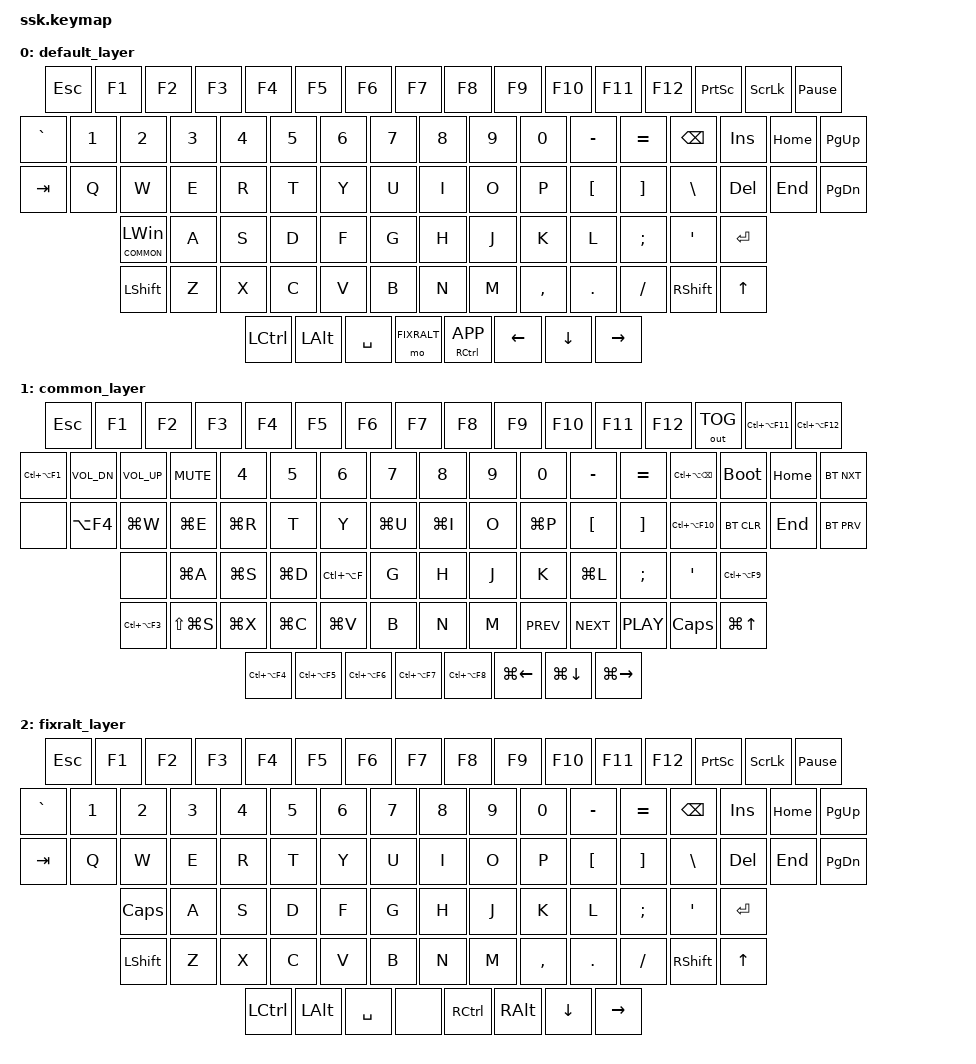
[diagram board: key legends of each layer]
#include <behaviors.dtsi>
#include <dt-bindings/zmk/bt.h>
#include <dt-bindings/zmk/keys.h>
#include <dt-bindings/zmk/outputs.h>

#define DEFAULT 0
#define COMMON 1
#define FIXRALT 2

/ {
    keymap {
        compatible = "zmk,keymap";

        default_layer {
            bindings = <
                &kp ESC     	        &kp F1 &kp F2 &kp F3 &kp F4    	            &kp F5 &kp F6 &kp F7 &kp F8                  &kp F9 &kp F10 &kp F11 &kp F12              &kp PSCRN       &kp SLCK           &kp PAUSE_BREAK
                &kp GRAVE           &kp N1 &kp N2 &kp N3 &kp N4 &kp N5 &kp N6 &kp N7 &kp N8 &kp N9 &kp N0 &kp MINUS &kp EQUAL                           &kp BSPC             &kp INS         &kp HOME           &kp PG_UP
				&kp TAB                 &kp Q &kp W &kp E &kp R &kp T &kp Y &kp U &kp I &kp O &kp P &kp LBKT &kp RBKT 	                                &kp BSLH		     &kp DEL         &kp END            &kp PG_DN
				&lt COMMON LWIN             &kp A &kp S &kp D &kp F &kp G &kp H &kp J &kp K &kp L &kp SEMI &kp APOS                                     &kp ENTER
				&kp LSHFT                       &kp Z &kp X &kp C &kp V &kp B &kp N &kp M &kp COMMA &kp DOT &kp FSLH                                    &kp RSHFT		                     &kp UP
				&kp LCTRL       &kp LALT                                    &kp SPACE                                               &mo FIXRALT         &mt RCTRL K_APP     &kp LEFT         &kp DOWN           &kp RIGHT
            >;          
        };

        common_layer {
            bindings = <
                &kp ESC         	    &kp F1 &kp F2 &kp F3 &kp F4         	    &kp F5 &kp F6 &kp F7 &kp F8             	 &kp F9 &kp F10 &kp F11 &kp F12    	        &out OUT_TOG     &kp LC(LA(F11))    &kp LC(LA(F12))
                &kp LC(LA(F1))      &kp C_VOL_DN &kp C_VOL_UP &kp C_MUTE &kp N4 &kp N5 &kp N6 &kp N7 &kp N8 &kp N9 &kp N0 &kp MINUS &kp EQUAL           &kp LC(LA(BSPC))	&bootloader      &kp HOME           &bt BT_NXT
				&none                   &kp LA(F4) &kp LG(W) &kp LG(E) &kp LG(R) &kp T &kp Y &kp LG(U) &kp LG(I) &kp O &kp LG(P) &kp LBKT &kp RBKT 	    &kp LC(LA(F10))		&bt BT_CLR       &kp END            &bt BT_PRV
				&none                       &kp LG(A) &kp LG(S) &kp LG(D) &kp LC(LA(F)) &kp G &kp H &kp J &kp K &kp LG(L) &kp SEMI &kp APOS             &kp LC(LA(F9))
				&kp LC(LA(F3))                  &kp LS(LG(S)) &kp LG(X) &kp LG(C) &kp LG(V) &kp B &kp N &kp M &kp C_PREV &kp C_NEXT &kp C_PLAY          &kp CAPS		                     &kp LG(UP)
				&kp LC(LA(F4))   &kp LC(LA(F5))                             &kp LC(LA(F6))                                	        &kp LC(LA(F7))      &kp LC(LA(F8))      &kp LG(LEFT)     &kp LG(DOWN)       &kp LG(RIGHT)
            >;          
        };

        fixralt_layer {
            bindings = <
                &kp ESC     	        &kp F1 &kp F2 &kp F3 &kp F4    	            &kp F5 &kp F6 &kp F7 &kp F8                  &kp F9 &kp F10 &kp F11 &kp F12              &kp PSCRN       &kp SLCK           &kp PAUSE_BREAK
                &kp GRAVE           &kp N1 &kp N2 &kp N3 &kp N4 &kp N5 &kp N6 &kp N7 &kp N8 &kp N9 &kp N0 &kp MINUS &kp EQUAL                           &kp BSPC             &kp INS         &kp HOME           &kp PG_UP
				&kp TAB                 &kp Q &kp W &kp E &kp R &kp T &kp Y &kp U &kp I &kp O &kp P &kp LBKT &kp RBKT 	                                &kp BSLH             &kp DEL         &kp END            &kp PG_DN
				&kp CAPS                    &kp A &kp S &kp D &kp F &kp G &kp H &kp J &kp K &kp L &kp SEMI &kp APOS                                     &kp ENTER
				&kp LSHFT                       &kp Z &kp X &kp C &kp V &kp B &kp N &kp M &kp COMMA &kp DOT &kp FSLH                                    &kp RSHFT		                     &kp UP
				&kp LCTRL       &kp LALT                                    &kp SPACE                                               &none               &kp RCTRL            &kp RALT        &kp DOWN           &kp RIGHT
            >;          
        };

    };
};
